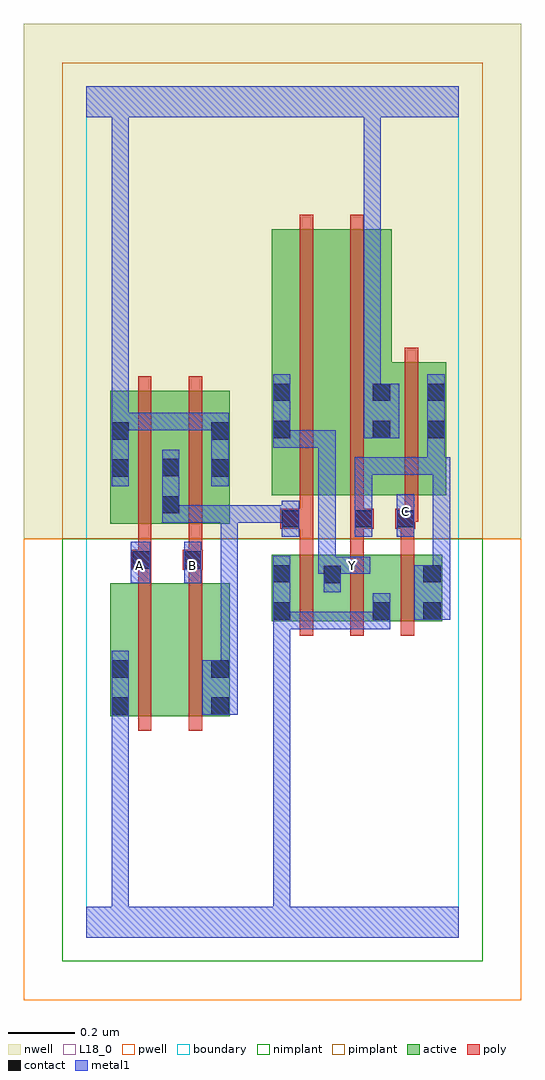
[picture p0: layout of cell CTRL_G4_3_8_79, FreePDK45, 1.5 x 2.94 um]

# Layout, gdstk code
import gdstk
lib = gdstk.Library(unit=1e-6, precision=1e-09)
def R(c, l, rs):  # rectangles x0, y0, x1, y1
    for r in rs: c.add(gdstk.rectangle(r[:2], r[2:], *l))
def A(c, l, x, y, w, h, nx, ny, dx, dy):  # array of equal rectangles
    R(c, l, [(x+i*dx, y+j*dy, x+i*dx+w, y+j*dy+h) for i in range(nx) for j in range(ny)])
active = (1, 0)
pwell = (2, 0)
nwell = (3, 0)
nimplant = (4, 0)
pimplant = (5, 0)
poly = (9, 0)
contact = (10, 0)
metal1 = (11, 0)
L18_0 = (18, 0)
boundary = (235, 0)

ctrl_g4_3_8_79 = lib.new_cell('CTRL_G4_3_8_79')
R(ctrl_g4_3_8_79, active, [(0.072,0.666,0.132,1.066), (0.072,0.666,0.252,1.066), (0.252,0.666,0.432,1.066), (0.372,0.666,0.432,1.066), (0.558,0.952,0.618,1.152), (0.558,0.952,0.77,1.152), (0.71,0.952,0.77,1.152), (0.71,0.952,0.918,1.152), (0.858,0.952,0.918,1.152), (0.858,0.952,1.07,1.152), (1.01,0.952,1.07,1.152), (0.072,1.244,0.132,1.644), (0.072,1.244,0.284,1.644), (0.224,1.244,0.284,1.644), (0.224,1.244,0.432,1.644), (0.372,1.244,0.432,1.644), (0.558,1.33,0.738,2.13), (0.558,1.33,0.618,2.044), (0.738,1.33,0.918,2.13), (0.858,1.33,1.082,1.73), (1.022,1.33,1.082,1.73), (0.858,1.338,0.918,2.13)])
R(ctrl_g4_3_8_79, pwell, [(-0.188,-0.188,1.308,1.2)])
R(ctrl_g4_3_8_79, nwell, [(-0.188,1.2,1.308,2.748)])
R(ctrl_g4_3_8_79, nimplant, [(-0.072,-0.072,1.192,1.2)])
R(ctrl_g4_3_8_79, pimplant, [(-0.072,1.2,1.192,2.632)])
A(ctrl_g4_3_8_79, poly, 0.642, 0.908, 0.04, 0.288, 3, 1, 0.152, 0)
A(ctrl_g4_3_8_79, poly, 0.642, 1.156, 0.04, 0.114, 3, 1, 0.152, 0)
R(ctrl_g4_3_8_79, poly, [(0.156,0.622,0.196,1.11), (0.308,0.622,0.348,1.11), (0.156,1.07,0.196,1.146), (0.308,1.07,0.348,1.146), (0.136,1.106,0.196,1.166), (0.29,1.106,0.35,1.166), (0.308,1.106,0.348,1.146), (0.308,1.106,0.348,1.146), (0.156,1.126,0.196,1.166), (0.156,1.126,0.196,1.166), (0.156,1.126,0.196,1.24), (0.308,1.126,0.348,1.24), (0.156,1.2,0.196,1.688), (0.308,1.2,0.348,1.688), (0.584,1.23,0.682,1.29), (0.642,1.23,0.682,1.27), (0.642,1.23,0.682,1.27), (0.794,1.23,0.834,1.27), (0.794,1.23,0.834,1.27), (0.794,1.23,0.864,1.29), (0.93,1.23,0.99,1.29), (0.642,1.25,0.682,1.326), (0.794,1.25,0.834,1.326), (0.95,1.25,0.99,1.29), (0.95,1.25,0.998,1.29), (0.958,1.25,0.998,1.326), (0.642,1.286,0.682,2.174), (0.794,1.286,0.834,2.174), (0.958,1.286,0.998,1.774)])
R(ctrl_g4_3_8_79, contact, [(0.076,0.67,0.128,0.722), (0.376,0.67,0.428,0.722), (0.076,0.782,0.128,0.834), (0.376,0.782,0.428,0.834), (0.562,0.956,0.614,1.008), (0.862,0.956,0.914,1.008), (1.014,0.956,1.066,1.008), (0.714,1.066,0.766,1.118), (0.562,1.068,0.614,1.12), (1.014,1.068,1.066,1.12), (0.14,1.11,0.192,1.162), (0.294,1.11,0.346,1.162), (0.588,1.234,0.64,1.286), (0.808,1.234,0.86,1.286), (0.934,1.234,0.986,1.286), (0.228,1.276,0.28,1.328), (0.076,1.386,0.128,1.438), (0.376,1.386,0.428,1.438), (0.228,1.388,0.28,1.44), (0.076,1.498,0.128,1.55), (0.376,1.498,0.428,1.55), (0.562,1.502,0.614,1.554), (0.862,1.502,0.914,1.554), (1.026,1.502,1.078,1.554), (0.562,1.614,0.614,1.666), (0.862,1.614,0.914,1.666), (1.026,1.614,1.078,1.666)])
R(ctrl_g4_3_8_79, metal1, [(0,0,1.12,0.092), (0.076,0.04,0.128,0.092), (0.076,0.04,0.128,0.092), (0.076,0.04,0.128,0.092), (0.076,0.04,0.128,0.092), (0.076,0.04,0.128,0.092), (0.076,0.04,0.128,0.092), (0.076,0.04,0.128,0.092), (0.076,0.04,0.128,0.092), (0.076,0.04,0.128,0.694), (0.562,0.04,0.614,0.092), (0.562,0.04,0.614,0.092), (0.562,0.04,0.614,0.092), (0.562,0.04,0.614,0.092), (0.562,0.04,0.614,0.092), (0.562,0.04,0.614,0.092), (0.562,0.04,0.614,0.092), (0.562,0.04,0.614,0.092), (0.562,0.04,0.614,0.98), (0.076,0.642,0.128,0.862), (0.076,0.642,0.128,0.694), (0.076,0.642,0.128,0.694), (0.076,0.642,0.128,0.694), (0.076,0.642,0.128,0.694), (0.348,0.67,0.456,0.834), (0.404,0.782,0.456,1.3), (0.562,0.928,0.614,1.148), (0.562,0.928,0.614,0.98), (0.562,0.928,0.614,0.98), (0.562,0.928,0.614,0.98), (0.562,0.928,0.614,0.98), (0.562,0.928,0.614,0.98), (0.562,0.928,0.614,0.98), (0.562,0.928,0.614,0.98), (0.562,0.928,0.614,0.98), (0.562,0.928,0.614,0.98), (0.562,0.928,0.614,0.98), (0.562,0.928,0.75,0.98), (0.698,0.928,0.75,0.98), (0.698,0.928,0.75,0.98), (0.698,0.928,0.75,0.98), (0.698,0.928,0.914,0.98), (0.862,0.928,0.914,1.036), (0.986,0.956,1.094,1.12), (0.714,1.038,0.766,1.146), (0.134,1.066,0.192,1.19), (0.294,1.066,0.346,1.19), (1.042,1.068,1.094,1.444), (1.042,1.068,1.094,1.12), (1.042,1.068,1.094,1.12), (0.698,1.094,0.75,1.146), (0.698,1.094,0.75,1.146), (0.698,1.094,0.75,1.526), (0.698,1.094,0.854,1.146), (0.714,1.094,0.766,1.146), (0.588,1.206,0.64,1.314), (0.808,1.206,0.86,1.314), (0.934,1.206,0.986,1.334), (0.228,1.248,0.28,1.468), (0.228,1.248,0.456,1.3), (0.404,1.248,0.456,1.3), (0.404,1.248,0.456,1.3), (0.404,1.248,0.456,1.3), (0.404,1.248,0.456,1.3), (0.404,1.248,0.456,1.3), (0.404,1.248,0.456,1.3), (0.404,1.248,0.456,1.3), (0.404,1.248,0.64,1.3), (0.588,1.248,0.64,1.3), (0.588,1.248,0.64,1.3), (0.808,1.262,0.86,1.314), (0.808,1.262,0.86,1.444), (0.076,1.358,0.128,1.578), (0.376,1.358,0.428,1.578), (0.808,1.392,1.078,1.444), (1.026,1.392,1.078,1.526), (1.026,1.392,1.078,1.444), (1.026,1.392,1.078,1.444), (1.026,1.392,1.094,1.444), (0.562,1.474,0.614,1.694), (0.562,1.474,0.614,1.526), (0.562,1.474,0.614,1.526), (0.562,1.474,0.75,1.526), (0.698,1.474,0.75,1.526), (1.026,1.474,1.078,1.694), (0.834,1.502,0.942,1.666), (0.076,1.526,0.128,1.578), (0.076,1.526,0.128,1.578), (0.076,1.526,0.128,1.578), (0.076,1.526,0.128,1.578), (0.076,1.526,0.128,1.578), (0.076,1.526,0.128,1.578), (0.076,1.526,0.128,1.578), (0.076,1.526,0.128,1.578), (0.076,1.526,0.29,1.578), (0.076,1.526,0.128,2.52), (0.238,1.526,0.29,1.578), (0.238,1.526,0.428,1.578), (0.376,1.526,0.428,1.578), (0.376,1.526,0.428,1.578), (0.834,1.614,0.886,1.666), (0.834,1.614,0.886,1.666), (0.834,1.614,0.886,1.666), (0.834,1.614,0.886,1.666), (0.834,1.614,0.886,1.666), (0.834,1.614,0.886,1.666), (0.834,1.614,0.886,1.666), (0.834,1.614,0.886,1.666), (0.834,1.614,0.886,2.52), (0,2.468,1.12,2.56), (0.076,2.468,0.128,2.52), (0.076,2.468,0.128,2.52), (0.076,2.468,0.128,2.52), (0.076,2.468,0.128,2.52), (0.076,2.468,0.128,2.52), (0.076,2.468,0.128,2.52), (0.076,2.468,0.128,2.52), (0.076,2.468,0.128,2.52), (0.076,2.468,0.128,2.52), (0.076,2.468,0.128,2.52)])
R(ctrl_g4_3_8_79, L18_0, [(0,0,1.12,0.092), (0.076,0.04,0.128,0.092), (0.076,0.04,0.128,0.092), (0.076,0.04,0.128,0.092), (0.076,0.04,0.128,0.092), (0.076,0.04,0.128,0.092), (0.076,0.04,0.128,0.092), (0.076,0.04,0.128,0.092), (0.076,0.04,0.128,0.092), (0.076,0.04,0.128,0.694), (0.562,0.04,0.614,0.092), (0.562,0.04,0.614,0.092), (0.562,0.04,0.614,0.092), (0.562,0.04,0.614,0.092), (0.562,0.04,0.614,0.092), (0.562,0.04,0.614,0.092), (0.562,0.04,0.614,0.092), (0.562,0.04,0.614,0.092), (0.562,0.04,0.614,0.98), (0.076,0.642,0.128,0.694), (0.076,0.642,0.128,0.694), (0.076,0.642,0.128,0.694), (0.076,0.642,0.128,0.694), (0.076,0.642,0.128,0.862), (0.562,0.928,0.614,0.98), (0.562,0.928,0.614,0.98), (0.562,0.928,0.614,0.98), (0.562,0.928,0.614,0.98), (0.562,0.928,0.614,0.98), (0.562,0.928,0.614,0.98), (0.562,0.928,0.614,0.98), (0.562,0.928,0.614,0.98), (0.562,0.928,0.614,0.98), (0.562,0.928,0.614,0.98), (0.562,0.928,0.614,1.148), (0.562,0.928,0.75,0.98), (0.698,0.928,0.75,0.98), (0.698,0.928,0.75,0.98), (0.698,0.928,0.75,0.98), (0.698,0.928,0.914,0.98), (0.862,0.928,0.914,1.036), (0.714,1.038,0.766,1.146), (0.134,1.066,0.192,1.19), (0.294,1.066,0.346,1.19), (0.134,1.094,0.186,1.146), (0.294,1.094,0.346,1.146), (0.698,1.094,0.75,1.146), (0.698,1.094,0.75,1.146), (0.698,1.094,0.854,1.146), (0.698,1.094,0.75,1.526), (0.714,1.094,0.766,1.146), (0.774,1.094,0.826,1.146), (0.934,1.206,0.986,1.334), (0.934,1.254,0.986,1.306), (0.076,1.358,0.128,1.578), (0.376,1.358,0.428,1.578), (0.562,1.474,0.614,1.526), (0.562,1.474,0.614,1.526), (0.562,1.474,0.614,1.694), (0.562,1.474,0.75,1.526), (0.698,1.474,0.75,1.526), (0.834,1.502,0.942,1.666), (0.076,1.526,0.128,1.578), (0.076,1.526,0.128,1.578), (0.076,1.526,0.128,1.578), (0.076,1.526,0.128,1.578), (0.076,1.526,0.128,1.578), (0.076,1.526,0.128,1.578), (0.076,1.526,0.128,1.578), (0.076,1.526,0.128,1.578), (0.076,1.526,0.128,2.52), (0.076,1.526,0.29,1.578), (0.238,1.526,0.29,1.578), (0.238,1.526,0.428,1.578), (0.376,1.526,0.428,1.578), (0.376,1.526,0.428,1.578), (0.834,1.614,0.886,1.666), (0.834,1.614,0.886,1.666), (0.834,1.614,0.886,1.666), (0.834,1.614,0.886,1.666), (0.834,1.614,0.886,1.666), (0.834,1.614,0.886,1.666), (0.834,1.614,0.886,1.666), (0.834,1.614,0.886,1.666), (0.834,1.614,0.886,2.52), (0,2.468,1.12,2.56), (0.076,2.468,0.128,2.52), (0.076,2.468,0.128,2.52), (0.076,2.468,0.128,2.52), (0.076,2.468,0.128,2.52), (0.076,2.468,0.128,2.52), (0.076,2.468,0.128,2.52), (0.076,2.468,0.128,2.52), (0.076,2.468,0.128,2.52), (0.076,2.468,0.128,2.52), (0.076,2.468,0.128,2.52)])
R(ctrl_g4_3_8_79, boundary, [(0,0,1.12,2.56)])
ctrl_g4_3_8_79.add(gdstk.Label('A', (0.16,1.12), layer=11, texttype=0))
ctrl_g4_3_8_79.add(gdstk.Label('B', (0.32,1.12), layer=11, texttype=0))
ctrl_g4_3_8_79.add(gdstk.Label('C', (0.96,1.28), layer=11, texttype=0))
ctrl_g4_3_8_79.add(gdstk.Label('Y', (0.8,1.12), layer=11, texttype=0))

lib.write_gds('CTRL_G4_3_8_79.gds')
